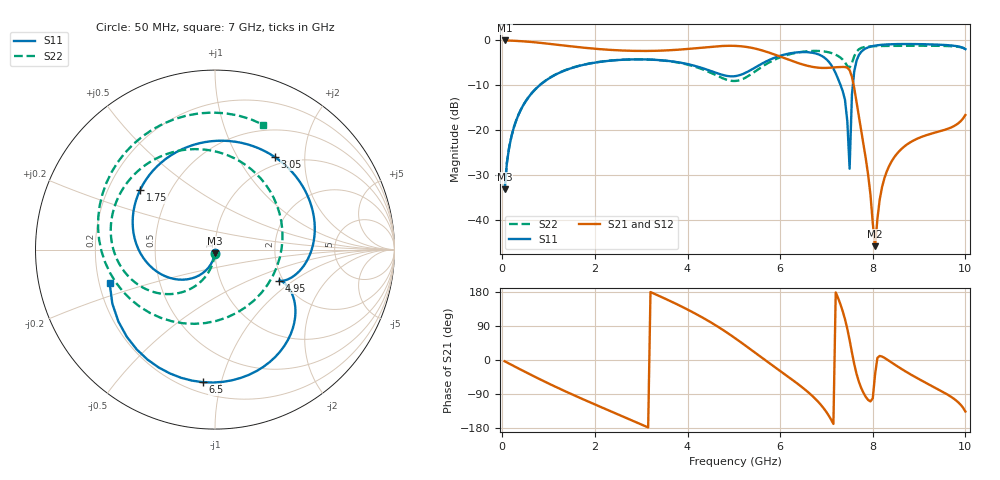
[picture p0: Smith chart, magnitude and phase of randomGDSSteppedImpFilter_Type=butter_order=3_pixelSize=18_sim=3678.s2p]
! freq	dB(S11)	phase(S11)	dB(S12)	phase(S12)
!  dB(S21)	phase(S21)	dB(S22)	phase(S22)
!S-par simulation data
#  GHz  S  DB  R 50
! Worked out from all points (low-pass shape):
!   200 points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, 50 MHz to 10 GHz, reference 50 ohm
!   highest |S21| = -0.01 dB at 50 MHz (marker M1); lowest = -45.9 dB at 8.05 GHz (marker M2)
!   |S21| within 3 dB of the highest: start of sweep to 5.841 GHz
!   lowest |S11| = -33.2 dB at 50 MHz (marker M3), VSWR 1.04, Z = 49.8 - j2.16 ohm
!   |S11| at or under -10 dB: start of sweep to 808.1 MHz; 7.305 GHz to 7.57 GHz (264.8 MHz wide, 3.56 % of centre)
!   |S22| runs from -33.2 to -1.2 dB; largest |S21 - S12| = 0
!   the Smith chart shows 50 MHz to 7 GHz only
!   S11 on the Smith chart (normalised r, x): 50 MHz: 1.00, -0.04; 1.75 GHz: 0.34, +0.31; 3.05 GHz: 0.87, +1.45; 4.95 GHz: 1.90, -0.78; 6.5 GHz: 0.27, -0.88; 7 GHz: 0.24, -0.14
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0.05  -33.25 -93.8  -0.01 -3.3  -0.01 -3.3  -33.25 -92.4
0.5  -13.66 -129.2  -0.24 -31.8  -0.24 -31.8  -13.65 -115.5
1.75  -5.45 141.3  -1.61 -104.0  -1.61 -104.0  -5.42 -170.5
3.05  -4.24 57.2  -2.35 -172.6  -2.35 -172.6  -4.23 137.0
3.4  -4.40 36.0  -2.29 168.4  -2.29 168.4  -4.42 120.6
4.2  -5.80 -7.7  -1.72 120.3  -1.72 120.3  -5.99 70.2
4.95  -8.01 -25.8  -1.20 64.2  -1.20 64.2  -9.02 -24.3
5.05  -7.94 -25.5  -1.23 55.7  -1.23 55.7  -9.03 -42.7
5.9  -3.78 -51.2  -3.23 -20.1  -3.23 -20.1  -4.20 -173.5
6.5  -2.60 -95.2  -5.41 -74.4  -5.41 -74.4  -2.51 122.8
6.7  -2.76 -115.5  -5.90 -95.4  -5.90 -95.4  -2.35 102.0
7  -4.22 -162.6  -6.14 -137.5  -6.14 -137.5  -2.54 69.1
7.25  -8.55 112.6  -5.96 163.8  -5.96 163.8  -3.47 40.5
7.4  -13.26 18.6  -5.93 107.6  -5.93 107.6  -4.91 25.6
7.5  -28.62 155.9  -6.64 52.6  -6.64 52.6  -6.07 28.9
7.55  -12.05 97.1  -8.12 19.9  -8.12 19.9  -5.03 33.2
7.6  -6.89 62.4  -10.64 -11.0  -10.64 -11.0  -3.51 29.3
7.75  -2.54 -1.2  -20.08 -73.8  -20.08 -73.8  -1.68 2.6
8.05  -1.16 -54.7  -45.91 -37.8  -45.91 -37.8  -1.27 -42.4
8.35  -0.87 -82.7  -28.09 -2.0  -28.09 -2.0  -1.22 -80.3
9.15  -0.86 -130.8  -21.17 -60.4  -21.17 -60.4  -1.19 -157.0
10  -1.94 -179.5  -16.64 -136.0  -16.64 -136.0  -1.86 142.8
